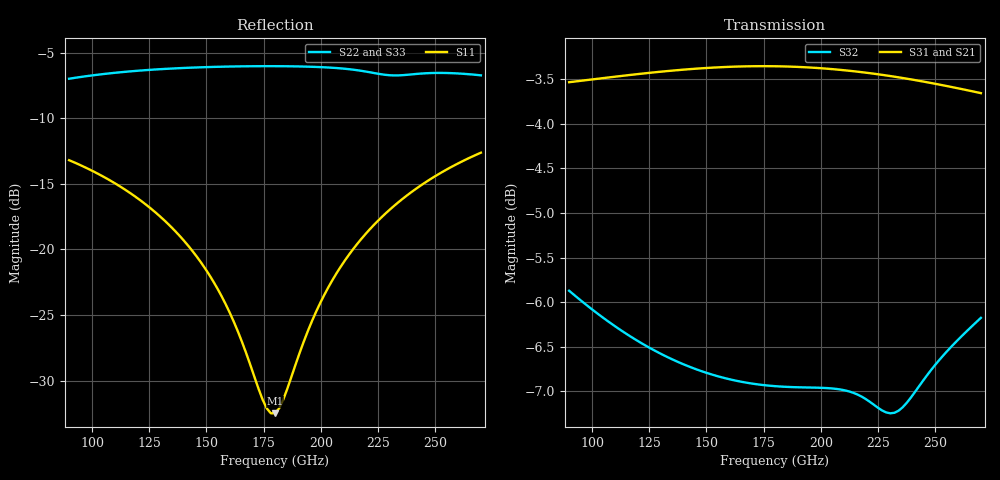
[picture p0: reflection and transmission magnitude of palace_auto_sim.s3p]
#  GHZ S DB R 50
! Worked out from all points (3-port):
!   101 points, 90 GHz to 270 GHz, reference 50 ohm
!   strongest paths, dB at 90 GHz, 135 GHz, 180 GHz, 225 GHz, 270 GHz:
!     S31: -3.5, -3.4, -3.4, -3.4, -3.7
!     S21: -3.5, -3.4, -3.4, -3.4, -3.6
!     S32: -5.9, -6.6, -6.9, -7.2, -6.2
!   lowest |S11| = -32.5 dB at 180 GHz (marker M1), VSWR 1.05, Z = 52.4 - j0.326 ohm
!   |S11| at or under -10 dB: start of sweep to end of sweep
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90  -13.20 130.2  -3.54 -44.3  -3.53 -44.3
    -3.54 -44.3  -6.99 49.7  -5.87 -98.6
    -3.53 -44.3  -5.87 -98.6  -7.00 49.6
118.8  -15.97 112.8  -3.45 -58.9  -3.45 -58.9
       -3.45 -58.9  -6.40 28.9  -6.42 -125.6
       -3.45 -58.9  -6.42 -125.6  -6.41 28.9
142.2  -19.75 95.7  -3.39 -71.1  -3.39 -71.1
       -3.39 -71.1  -6.16 14.7  -6.72 -146.8
       -3.39 -71.1  -6.72 -146.8  -6.16 14.7
156.6  -23.55 80.4  -3.37 -78.6  -3.37 -78.6
       -3.37 -78.6  -6.08 6.7  -6.84 -159.8
       -3.37 -78.6  -6.84 -159.8  -6.08 6.7
174.6  -31.46 29.5  -3.35 -88.1  -3.35 -88.2
       -3.35 -88.1  -6.04 -2.9  -6.93 -175.9
       -3.35 -88.2  -6.93 -175.9  -6.04 -2.9
180  -32.50 -7.5  -3.35 -91.0  -3.35 -91.0
     -3.35 -91.0  -6.04 -5.7  -6.94 179.2
     -3.35 -91.0  -6.94 179.2  -6.04 -5.8
199.8  -24.08 -80.0  -3.37 -101.5  -3.38 -101.6
       -3.37 -101.5  -6.11 -16.3  -6.96 161.1
       -3.38 -101.6  -6.96 161.1  -6.10 -16.4
216  -19.57 -97.9  -3.41 -110.1  -3.42 -110.1
     -3.41 -110.1  -6.35 -25.3  -7.04 145.9
     -3.42 -110.1  -7.04 145.9  -6.34 -25.3
239.4  -15.67 -115.2  -3.50 -122.4  -3.50 -122.5
       -3.50 -122.4  -6.67 -34.7  -7.07 128.0
       -3.50 -122.5  -7.07 128.0  -6.65 -34.8
270  -12.63 -133.7  -3.65 -138.2  -3.66 -138.3
     -3.65 -138.2  -6.74 -55.1  -6.18 99.4
     -3.66 -138.3  -6.18 99.4  -6.72 -55.2
